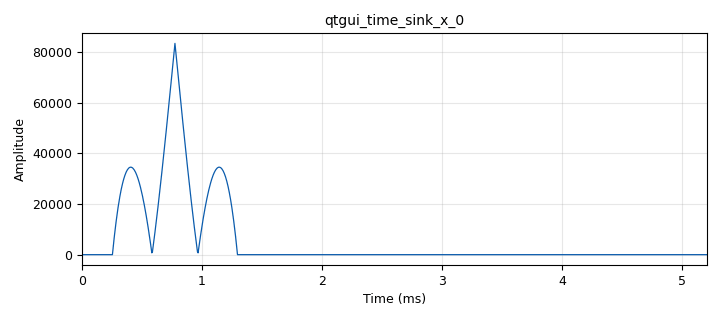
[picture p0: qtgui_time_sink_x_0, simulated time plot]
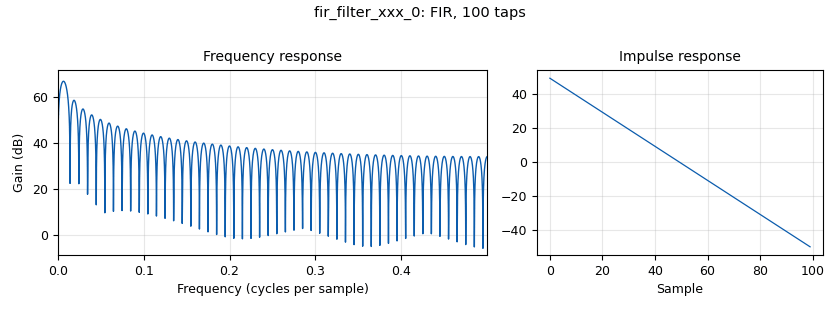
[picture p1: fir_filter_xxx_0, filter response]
options:
  parameters:
    author: YASH
    generate_options: qt_gui
    id: matched_filtering
    output_language: python
    title: Not titled yet
  states: {}

blocks:
- name: radn_delay
  id: variable_qtgui_range
  parameters:
    start: '0'
    step: '1'
    stop: '100'
    value: '50'
  states: {}
- name: samp_rate
  id: variable
  parameters:
    value: '192000'
  states: {}
- name: test_pulse
  id: variable
  parameters:
    value: np.arange(-50,50)
  states: {}
- name: blocks_abs_xx_0
  id: blocks_abs_xx
  parameters:
    type: float
  states: {}
- name: blocks_delay_0
  id: blocks_delay
  parameters:
    delay: radn_delay
    type: float
  states: {}
- name: blocks_throttle2_0
  id: blocks_throttle2
  parameters:
    samples_per_second: samp_rate
    type: float
  states: {}
- name: blocks_vector_source_x_0
  id: blocks_vector_source_x
  parameters:
    repeat: 'True'
    type: float
    vector: list(test_pulse) + [0]*(1000-len(test_pulse))
  states: {}
- name: fir_filter_xxx_0
  id: fir_filter_xxx
  parameters:
    decim: '1'
    taps: test_pulse[::-1]
    type: fff
  states: {}
- name: import_0
  id: import
  parameters:
    imports: import numpy as np
  states: {}
- name: qtgui_time_sink_x_0
  id: qtgui_time_sink_x
  parameters:
    autoscale: 'True'
    size: '1000'
    srate: samp_rate
    type: float
  states: {}

connections:
- [blocks_abs_xx_0, '0', qtgui_time_sink_x_0, '0']
- [blocks_delay_0, '0', fir_filter_xxx_0, '0']
- [blocks_throttle2_0, '0', blocks_delay_0, '0']
- [blocks_vector_source_x_0, '0', blocks_throttle2_0, '0']
- [fir_filter_xxx_0, '0', blocks_abs_xx_0, '0']

metadata:
  file_format: 1
  grc_version: 3.10.7.0
